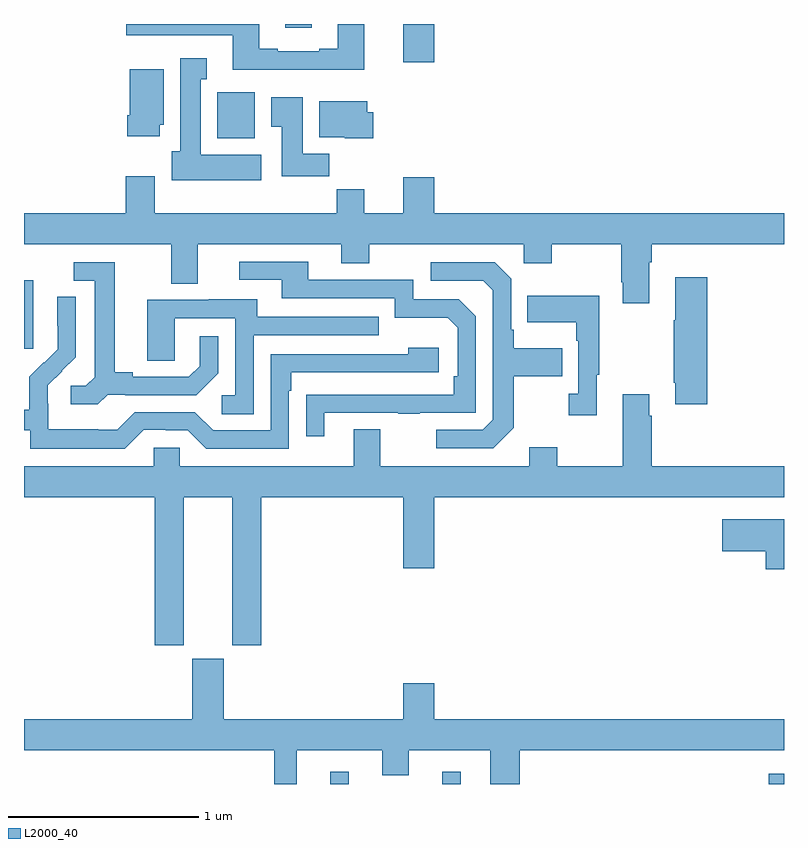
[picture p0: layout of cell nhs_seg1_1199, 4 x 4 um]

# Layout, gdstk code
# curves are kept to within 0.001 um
import gdstk
lib = gdstk.Library(unit=1e-6, precision=1e-09)
def R(c, l, rs):  # rectangles x0, y0, x1, y1
    for r in rs: c.add(gdstk.rectangle(r[:2], r[2:], *l))
def P(c, l, *ps):  # polygons
    for p in ps: c.add(gdstk.Polygon(p, *l))
L2000_40 = (2000, 40)

nhs_seg1_1199 = lib.new_cell('nhs_seg1_1199')
R(nhs_seg1_1199, L2000_40, [(176.613,574.199,176.71,574.264), (177.2,574.199,177.298,574.264), (178.92,574.199,179,574.252), (175,576.489,175.048,576.85), (176.018,577.598,176.215,577.84), (176.996,577.998,177.16,578.199), (176.375,578.178,176.515,578.199)])
P(nhs_seg1_1199, L2000_40, [(176.791,578.199),(176.651,578.199),(176.651,578.068),(176.555,578.068),(176.555,578.055),(176.335,578.055),(176.335,578.068),(176.239,578.068),(176.239,578.199),(175.539,578.199),(175.539,578.139),(176.099,578.139),(176.099,577.958),(176.791,577.958)],
  [(176.248,577.51),(175.93,577.51),(175.93,577.907),(175.963,577.907),(175.963,578.02),(175.823,578.02),(175.823,577.53),(175.778,577.53),(175.778,577.376),(176.248,577.376)],
  [(175.714,577.668),(175.735,577.668),(175.735,577.96),(175.556,577.96),(175.556,577.72),(175.544,577.72),(175.544,577.608),(175.714,577.608)],
  [(176.606,577.516),(176.467,577.516),(176.467,577.813),(176.3,577.813),(176.3,577.657),(176.357,577.657),(176.357,577.398),(176.606,577.398)],
  [(176.837,577.734),(176.806,577.734),(176.806,577.792),(176.555,577.792),(176.555,577.604),(176.688,577.604),(176.688,577.598),(176.837,577.598)],
  [(178.291,576.944),(178.304,576.944),(178.304,577.04),(179,577.04),(179,577.204),(177.16,577.204),(177.16,577.393),(176.996,577.393),(176.996,577.204),(176.791,577.204),(176.791,577.328),(176.647,577.328),(176.647,577.204),(175.687,577.204),(175.687,577.399),(175.535,577.399),(175.535,577.204),(175,577.204),(175,577.04),(175.775,577.04),(175.775,576.832),(175.915,576.832),(175.915,577.04),(176.669,577.04),(176.669,576.941),(176.817,576.941),(176.817,577.04),(177.63,577.04),(177.63,576.941),(177.777,576.941),(177.777,577.04),(178.144,577.04),(178.144,576.841),(178.151,576.841),(178.151,576.729),(178.291,576.729)],
  [(176.581,576.153),(176.971,576.153),(176.971,576.148),(177.083,576.148),(177.083,576.153),(177.378,576.153),(177.378,576.66),(177.288,576.75),(177.048,576.75),(177.048,576.852),(176.497,576.852),(176.497,576.948),(176.133,576.948),(176.133,576.852),(176.357,576.852),(176.357,576.756),(176.952,576.756),(176.952,576.653),(177.229,576.653),(177.282,576.6),(177.282,576.346),(177.262,576.346),(177.262,576.249),(176.485,576.248),(176.485,576.03),(176.581,576.03)],
  [(177.577,576.073),(177.577,576.346),(177.833,576.346),(177.833,576.493),(177.577,576.493),(177.577,576.589),(177.564,576.589),(177.564,576.858),(177.477,576.945),(177.141,576.945),(177.141,576.849),(177.417,576.849),(177.468,576.798),(177.468,576.117),(177.414,576.063),(177.171,576.063),(177.171,575.967),(177.471,575.967)],
  [(175.44,576.249),(175.534,576.249),(175.534,576.246),(175.906,576.246),(176.022,576.362),(176.022,576.556),(175.925,576.556),(175.925,576.399),(175.868,576.342),(175.573,576.342),(175.573,576.365),(175.477,576.365),(175.477,576.945),(175.263,576.945),(175.263,576.849),(175.373,576.849),(175.373,576.341),(175.326,576.294),(175.245,576.294),(175.245,576.197),(175.388,576.197)],
  [(178.595,576.865),(178.427,576.865),(178.427,576.641),(178.42,576.641),(178.42,576.31),(178.427,576.31),(178.427,576.198),(178.595,576.198)],
  [(178.015,576.353),(178.027,576.353),(178.027,576.769),(177.649,576.769),(177.649,576.629),(177.906,576.629),(177.906,576.533),(177.918,576.533),(177.918,576.254),(177.867,576.254),(177.867,576.141),(178.015,576.141)],
  [(175.629,576.063),(175.745,576.063),(175.745,576.06),(175.863,576.06),(175.959,575.964),(176.394,575.964),(176.394,576.269),(176.407,576.269),(176.407,576.366),(177.184,576.366),(177.184,576.496),(177.023,576.496),(177.023,576.462),(176.298,576.462),(176.298,576.06),(175.995,576.06),(175.899,576.156),(175.584,576.156),(175.491,576.063),(175.391,576.063),(175.391,576.067),(175.128,576.067),(175.128,576.201),(175.126,576.201),(175.126,576.298),(175.272,576.446),(175.272,576.764),(175.176,576.764),(175.176,576.61),(175.178,576.61),(175.178,576.488),(175.107,576.417),(175.104,576.42),(175.027,576.343),(175.027,576.169),(175,576.169),(175,576.06),(175.032,576.06),(175.032,575.963),(175.529,575.963)],
  [(176.208,576.561),(176.867,576.561),(176.867,576.657),(176.227,576.657),(176.227,576.751),(175.973,576.751),(175.973,576.747),(175.649,576.747),(175.649,576.427),(175.794,576.427),(175.794,576.651),(176.112,576.651),(176.112,576.246),(176.04,576.246),(176.04,576.145),(176.208,576.145)],
  [(175.84,575.708),(176.096,575.708),(176.096,574.929),(176.249,574.929),(176.249,575.708),(176.996,575.708),(176.996,575.334),(177.16,575.334),(177.16,575.708),(179,575.708),(179,575.872),(178.304,575.872),(178.304,576.137),(178.291,576.137),(178.291,576.25),(178.151,576.25),(178.151,575.872),(177.807,575.872),(177.807,575.971),(177.659,575.971),(177.659,575.872),(176.875,575.872),(176.875,576.067),(176.735,576.067),(176.735,575.872),(175.821,575.872),(175.821,575.97),(175.683,575.97),(175.683,575.872),(175,575.872),(175,575.708),(175.688,575.708),(175.688,574.929),(175.84,574.929)],
  [(179,575.593),(178.674,575.593),(178.674,575.423),(178.904,575.423),(178.904,575.33),(179,575.33)],
  [(177.16,574.729),(176.996,574.729),(176.996,574.54),(176.05,574.54),(176.05,574.857),(175.886,574.857),(175.886,574.54),(175,574.54),(175,574.376),(176.317,574.376),(176.317,574.199),(176.435,574.199),(176.435,574.376),(176.885,574.376),(176.885,574.246),(177.025,574.246),(177.025,574.376),(177.455,574.376),(177.455,574.199),(177.608,574.199),(177.608,574.376),(179,574.376),(179,574.54),(177.16,574.54)])

lib.write_gds('nhs_seg1_1199.gds')
